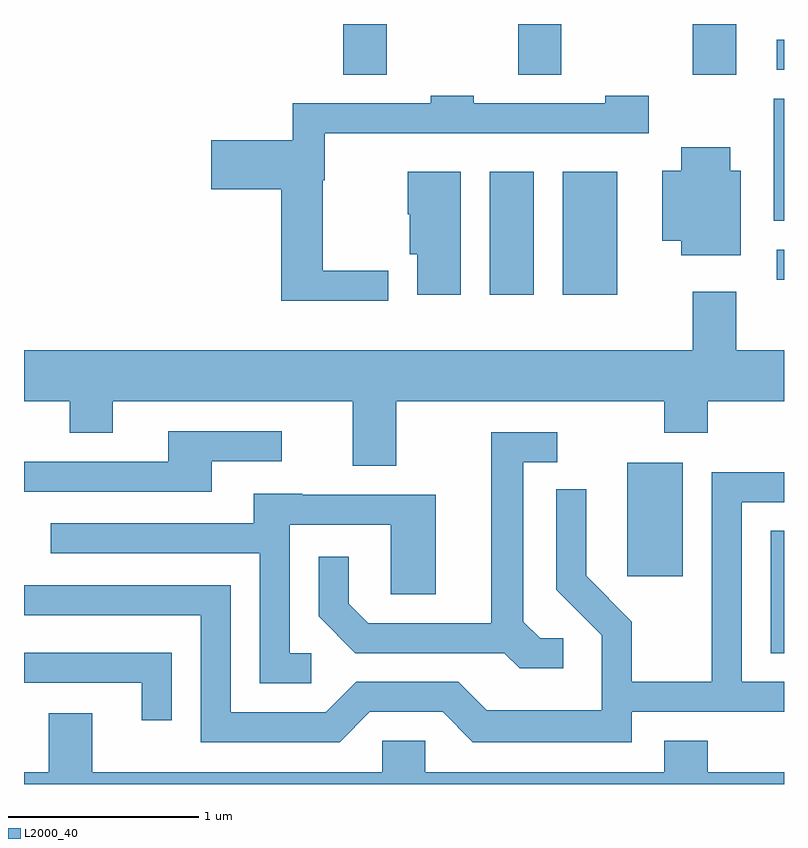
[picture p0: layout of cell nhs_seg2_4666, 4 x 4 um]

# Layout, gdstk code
import gdstk
lib = gdstk.Library(unit=1e-6, precision=1e-09)
def R(c, l, rs):  # rectangles x0, y0, x1, y1
    for r in rs: c.add(gdstk.rectangle(r[:2], r[2:], *l))
def A(c, l, x, y, w, h, nx, ny, dx, dy):  # array of equal rectangles
    R(c, l, [(x+i*dx, y+j*dy, x+i*dx+w, y+j*dy+h) for i in range(nx) for j in range(ny)])
def P(c, l, *ps):  # polygons
    for p in ps: c.add(gdstk.Polygon(p, *l))
L2000_40 = (2000, 40)

nhs_seg2_4666 = lib.new_cell('nhs_seg2_4666')
A(nhs_seg2_4666, L2000_40, 323.291, 1105.536, 0.228, 0.266, 3, 1, 0.92, 0)
R(nhs_seg2_4666, L2000_40, [(325.541,1102.491,325.611,1103.134), (324.786,1102.896,325.079,1103.494), (324.061,1104.376,324.294,1105.024), (324.446,1104.376,324.734,1105.024), (325.573,1104.456,325.611,1104.614), (325.556,1104.766,325.611,1105.409), (325.573,1105.561,325.611,1105.719)])
P(nhs_seg2_4666, L2000_40, [(323.528,1104.504),(323.184,1104.504),(323.184,1104.98),(323.194,1104.98),(323.194,1105.226),(324.899,1105.226),(324.899,1105.424),(324.671,1105.424),(324.671,1105.384),(323.979,1105.384),(323.979,1105.424),(323.751,1105.424),(323.751,1105.384),(323.026,1105.384),(323.026,1105.189),(322.596,1105.189),(322.596,1104.931),(322.966,1104.931),(322.966,1104.346),(323.528,1104.346)],
  [(325.384,1105.029),(325.329,1105.029),(325.329,1105.154),(325.071,1105.154),(325.071,1105.029),(324.971,1105.029),(324.971,1104.661),(325.071,1104.661),(325.071,1104.586),(325.384,1104.586)],
  [(323.909,1105.024),(323.631,1105.024),(323.631,1104.8),(323.641,1104.8),(323.641,1104.591),(323.681,1104.591),(323.681,1104.376),(323.909,1104.376)],
  [(323.569,1103.816),(324.981,1103.816),(324.981,1103.651),(325.209,1103.651),(325.209,1103.816),(325.611,1103.816),(325.611,1104.084),(325.359,1104.084),(325.359,1104.394),(325.131,1104.394),(325.131,1104.084),(321.611,1104.084),(321.611,1103.816),(321.851,1103.816),(321.851,1103.651),(322.079,1103.651),(322.079,1103.816),(323.341,1103.816),(323.341,1103.476),(323.569,1103.476)],
  [(322.599,1103.501),(322.968,1103.501),(322.968,1103.659),(322.371,1103.659),(322.371,1103.499),(321.611,1103.499),(321.611,1103.341),(322.599,1103.341)],
  [(324.448,1102.569),(324.327,1102.569),(324.239,1102.657),(324.239,1103.496),(324.418,1103.496),(324.418,1103.654),(324.071,1103.654),(324.071,1102.649),(323.422,1102.649),(323.319,1102.752),(323.319,1102.998),(323.161,1102.998),(323.161,1102.684),(323.354,1102.491),(324.139,1102.491),(324.219,1102.411),(324.448,1102.411)],
  [(323.432,1102.181),(323.814,1102.181),(323.974,1102.021),(324.809,1102.021),(324.809,1102.181),(325.611,1102.181),(325.611,1102.339),(325.389,1102.339),(325.389,1103.286),(325.611,1103.286),(325.611,1103.444),(325.231,1103.444),(325.231,1102.339),(324.809,1102.339),(324.809,1102.657),(324.569,1102.897),(324.569,1103.353),(324.411,1103.353),(324.411,1102.824),(324.651,1102.584),(324.651,1102.189),(324.047,1102.189),(323.897,1102.339),(323.359,1102.339),(323.199,1102.179),(322.699,1102.179),(322.699,1102.849),(321.611,1102.849),(321.611,1102.691),(322.541,1102.691),(322.541,1102.021),(323.272,1102.021)],
  [(323.123,1102.489),(323.009,1102.489),(323.009,1103.166),(323.541,1103.166),(323.541,1102.801),(323.779,1102.801),(323.779,1103.324),(323.075,1103.324),(323.075,1103.329),(322.821,1103.329),(322.821,1103.174),(321.753,1103.174),(321.753,1103.016),(322.851,1103.016),(322.851,1102.331),(323.123,1102.331)],
  [(322.389,1102.494),(321.611,1102.494),(321.611,1102.336),(322.231,1102.336),(322.231,1102.138),(322.389,1102.138)],
  [(325.611,1101.864),(325.209,1101.864),(325.209,1102.029),(324.981,1102.029),(324.981,1101.864),(323.724,1101.864),(323.724,1102.029),(323.496,1102.029),(323.496,1101.864),(321.969,1101.864),(321.969,1102.174),(321.741,1102.174),(321.741,1101.864),(321.611,1101.864),(321.611,1101.802),(325.611,1101.802)])

lib.write_gds('nhs_seg2_4666.gds')
